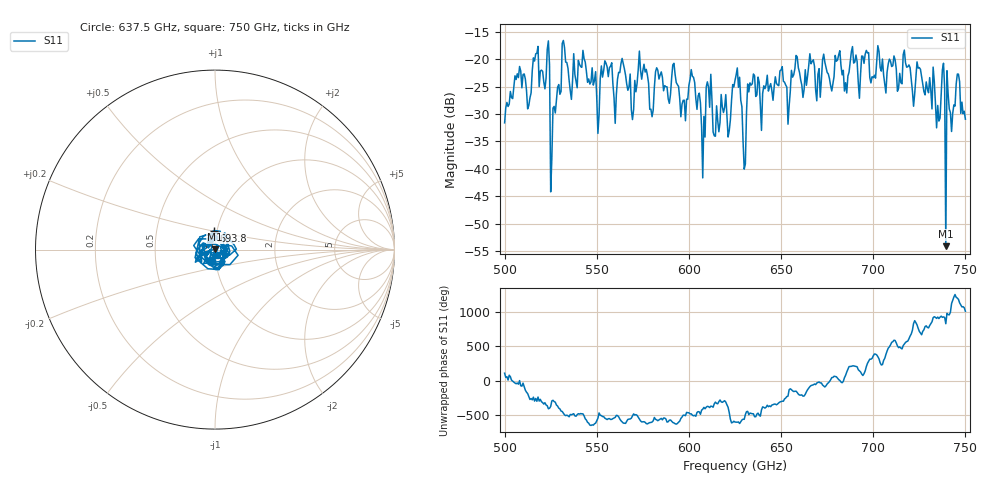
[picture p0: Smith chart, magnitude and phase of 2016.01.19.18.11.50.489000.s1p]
!Created with skrf (http://scikit-rf.org).
# GHz S RI R 50.0
!freq ReS11 ImS11
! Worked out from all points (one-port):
!   401 points, 500 GHz to 750 GHz, reference 50 ohm
!   lowest |S11| = -54.1 dB at 739.4 GHz (marker M1), VSWR 1.00, Z = 50 + j0.193 ohm
!   |S11| at or under -10 dB: start of sweep to end of sweep
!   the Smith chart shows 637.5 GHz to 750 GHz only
!   S11 on the Smith chart (normalised r, x): 637.5 GHz: 0.94, -0.12; 693.8 GHz: 0.96, +0.21; 750 GHz: 1.01, -0.06
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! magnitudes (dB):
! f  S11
! 500 GHz  -31.6
! 507.5 GHz  -23.4
! 513.1 GHz  -28.5
! 516.9 GHz  -19.0
! 523.1 GHz  -18.3
! 526.2 GHz  -28.9
! 531.2 GHz  -17.2
! 550 GHz  -27.1
! 562.5 GHz  -22.5
! 570 GHz  -29.2
! 574.4 GHz  -23.7
! 580 GHz  -30.5
! 593.8 GHz  -24.7
! 601.9 GHz  -23.1
! 607.5 GHz  -41.6
! 610.6 GHz  -25.1
! 615 GHz  -28.5
! 625 GHz  -23.9
! 630 GHz  -40.0
! 633.1 GHz  -24.3
! 637.5 GHz  -23.3
! 656.2 GHz  -23.3
! 687.5 GHz  -20.5
! 693.8 GHz  -19.4
! 718.8 GHz  -21.4
! 739.4 GHz  -54.1
! 745.6 GHz  -22.7
! 750 GHz  -30.9
